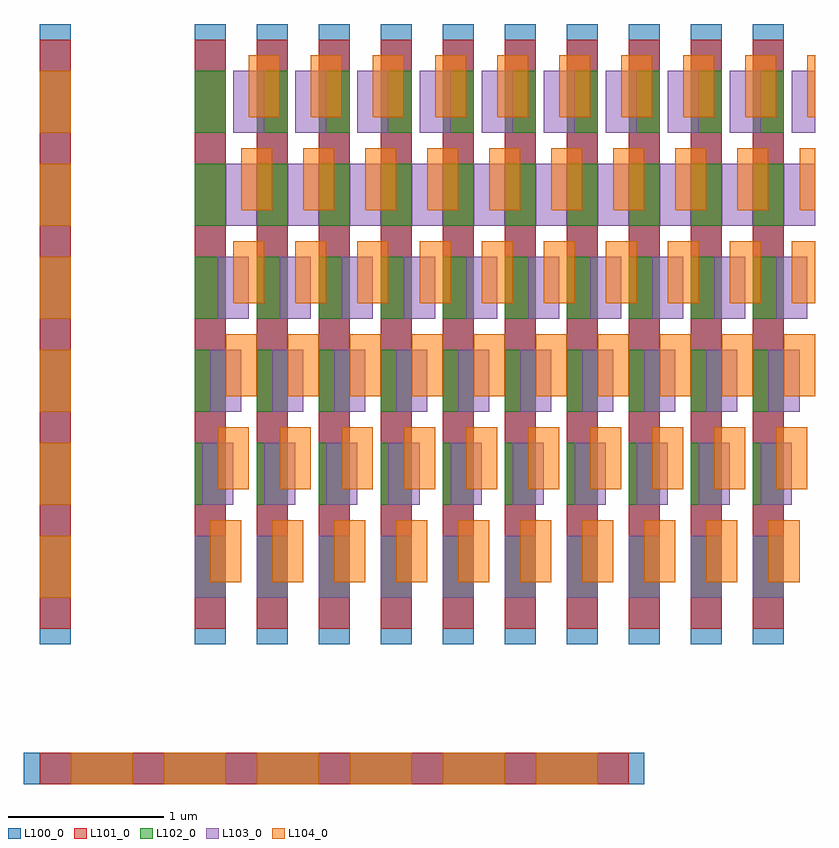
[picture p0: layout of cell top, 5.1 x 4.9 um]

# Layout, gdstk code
import gdstk
lib = gdstk.Library(unit=1e-6, precision=1e-09)
def R(c, l, rs):  # rectangles x0, y0, x1, y1
    for r in rs: c.add(gdstk.rectangle(r[:2], r[2:], *l))
def A(c, l, x, y, w, h, nx, ny, dx, dy):  # array of equal rectangles
    R(c, l, [(x+i*dx, y+j*dy, x+i*dx+w, y+j*dy+h) for i in range(nx) for j in range(ny)])
L100_0 = (100, 0)
L101_0 = (101, 0)
L102_0 = (102, 0)
L103_0 = (103, 0)
L104_0 = (104, 0)

top = lib.new_cell('top')
A(top, L100_0, 1.1, 1, 0.2, 4, 10, 1, 0.4, 0)
R(top, L100_0, [(0,0.1,4,0.3), (0.1,1,0.3,5)])
A(top, L101_0, 1.1, 1.1, 0.2, 3.8, 10, 1, 0.4, 0)
R(top, L101_0, [(0.1,0.1,3.9,0.3), (0.1,1.1,0.3,4.9)])
A(top, L102_0, 0.3, 0.1, 0.4, 0.2, 6, 1, 0.6, 0)
A(top, L102_0, 0.1, 1.3, 0.2, 0.4, 1, 6, 0, 0.6)
A(top, L102_0, 1.1, 1.3, 0.2, 0.4, 10, 6, 0.4, 0.6)
A(top, L103_0, 0.3, 0.1, 0.4, 0.2, 6, 1, 0.6, 0)
A(top, L103_0, 0.1, 1.3, 0.2, 0.4, 1, 6, 0, 0.6)
A(top, L103_0, 1.1, 1.3, 0.2, 0.4, 10, 1, 0.4, 0)
A(top, L103_0, 1.15, 1.9, 0.2, 0.4, 10, 1, 0.4, 0)
A(top, L103_0, 1.2, 2.5, 0.2, 0.4, 10, 1, 0.4, 0)
A(top, L103_0, 1.25, 3.1, 0.2, 0.4, 10, 1, 0.4, 0)
A(top, L103_0, 1.3, 3.7, 0.2, 0.4, 10, 1, 0.4, 0)
A(top, L103_0, 1.35, 4.3, 0.2, 0.4, 9, 1, 0.4, 0)
R(top, L103_0, [(4.95,4.3,5.1,4.7)])
A(top, L104_0, 0.3, 0.1, 0.4, 0.2, 6, 1, 0.6, 0)
A(top, L104_0, 0.1, 1.3, 0.2, 0.4, 1, 6, 0, 0.6)
A(top, L104_0, 1.2, 1.4, 0.2, 0.4, 10, 1, 0.4, 0)
A(top, L104_0, 1.25, 2, 0.2, 0.4, 10, 1, 0.4, 0)
A(top, L104_0, 1.3, 2.6, 0.2, 0.4, 10, 1, 0.4, 0)
A(top, L104_0, 1.35, 3.2, 0.2, 0.4, 9, 1, 0.4, 0)
A(top, L104_0, 1.4, 3.8, 0.2, 0.4, 9, 1, 0.4, 0)
A(top, L104_0, 1.45, 4.4, 0.2, 0.4, 9, 1, 0.4, 0)
R(top, L104_0, [(4.95,3.2,5.1,3.6), (5,3.8,5.1,4.2), (5.05,4.4,5.1,4.8)])

lib.write_gds('top.gds')
